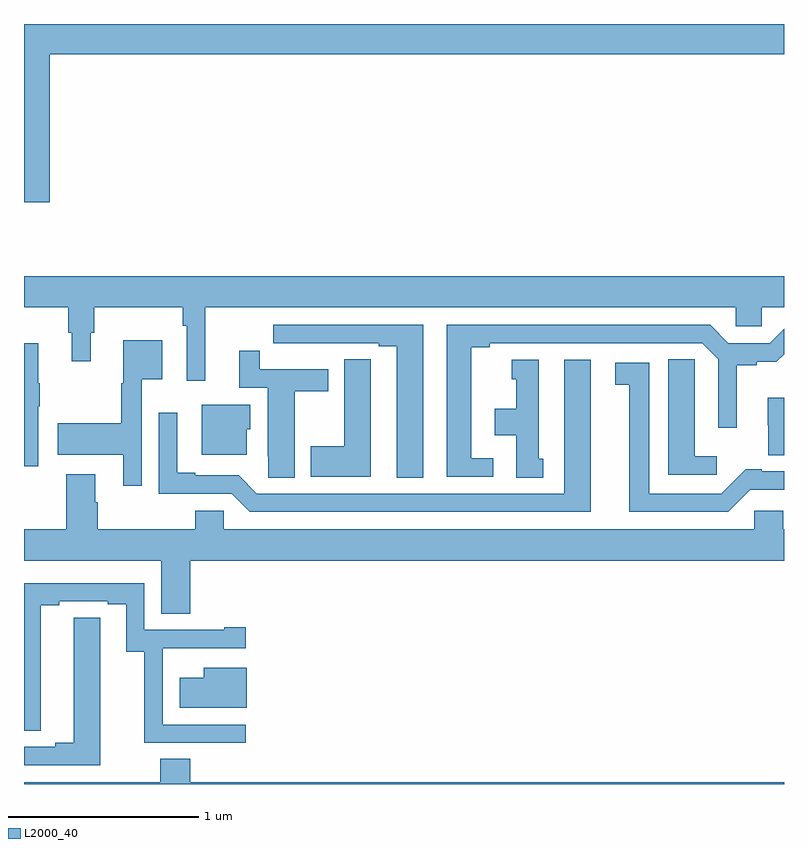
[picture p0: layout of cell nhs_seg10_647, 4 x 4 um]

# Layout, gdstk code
import gdstk
lib = gdstk.Library(unit=1e-6, precision=1e-09)
def P(c, l, *ps):  # polygons
    for p in ps: c.add(gdstk.Polygon(p, *l))
L2000_40 = (2000, 40)

nhs_seg10_647 = lib.new_cell('nhs_seg10_647')
P(nhs_seg10_647, L2000_40, [(143.135,1276.34),(147,1276.34),(147,1276.5),(143,1276.5),(143,1275.561),(143.135,1275.561)],
  [(143.954,1275.008),(146.745,1275.008),(146.745,1274.91),(146.883,1274.91),(146.883,1275.008),(147,1275.008),(147,1275.172),(143,1275.172),(143,1275.008),(143.233,1275.008),(143.233,1274.874),(143.252,1274.874),(143.252,1274.724),(143.35,1274.724),(143.35,1274.874),(143.369,1274.874),(143.369,1275.008),(143.836,1275.008),(143.836,1274.912),(143.856,1274.912),(143.856,1274.622),(143.954,1274.622)],
  [(145.471,1274.214),(145.354,1274.214),(145.354,1274.8),(145.45,1274.8),(145.45,1274.82),(146.571,1274.82),(146.655,1274.736),(146.655,1274.376),(146.752,1274.376),(146.752,1274.704),(146.856,1274.704),(146.856,1274.723),(146.96,1274.723),(147,1274.763),(147,1274.895),(146.925,1274.82),(146.707,1274.82),(146.611,1274.916),(145.226,1274.916),(145.226,1274.118),(145.471,1274.118)],
  [(145.102,1274.916),(144.312,1274.916),(144.312,1274.82),(144.424,1274.82),(144.424,1274.819),(144.59,1274.819),(144.59,1274.82),(144.866,1274.82),(144.866,1274.805),(144.962,1274.805),(144.962,1274.113),(145.102,1274.113)],
  [(143.619,1274.63),(143.728,1274.63),(143.728,1274.836),(143.522,1274.836),(143.522,1274.61),(143.511,1274.61),(143.511,1274.4),(143.178,1274.4),(143.178,1274.234),(143.522,1274.234),(143.522,1274.07),(143.619,1274.07)],
  [(143.074,1274.488),(143.082,1274.488),(143.082,1274.608),(143.074,1274.608),(143.074,1274.821),(143,1274.821),(143,1274.172),(143.074,1274.172)],
  [(144.424,1274.566),(144.601,1274.566),(144.601,1274.682),(144.242,1274.682),(144.242,1274.779),(144.134,1274.779),(144.134,1274.586),(144.284,1274.586),(144.284,1274.224),(144.285,1274.224),(144.285,1274.113),(144.424,1274.113)],
  [(146.647,1274.224),(146.53,1274.224),(146.53,1274.627),(146.529,1274.627),(146.529,1274.735),(146.39,1274.735),(146.39,1274.127),(146.647,1274.127)],
  [(144.826,1274.627),(144.825,1274.627),(144.825,1274.735),(144.686,1274.735),(144.686,1274.277),(144.509,1274.277),(144.509,1274.117),(144.826,1274.117)],
  [(145.984,1274.734),(145.844,1274.734),(145.844,1274.028),(144.225,1274.028),(144.129,1274.124),(143.902,1274.124),(143.902,1274.137),(143.806,1274.137),(143.806,1274.455),(143.709,1274.455),(143.709,1274.028),(144.093,1274.028),(144.189,1273.932),(145.984,1273.932)],
  [(145.732,1274.211),(145.708,1274.211),(145.708,1274.734),(145.568,1274.734),(145.568,1274.631),(145.592,1274.631),(145.592,1274.476),(145.478,1274.476),(145.478,1274.336),(145.592,1274.336),(145.592,1274.113),(145.732,1274.113)],
  [(146.823,1274.049),(147,1274.049),(147,1274.145),(146.884,1274.145),(146.884,1274.156),(146.798,1274.156),(146.67,1274.028),(146.29,1274.028),(146.29,1274.718),(146.112,1274.718),(146.112,1274.602),(146.186,1274.602),(146.186,1273.932),(146.706,1273.932)],
  [(147,1274.533),(146.915,1274.533),(146.915,1274.388),(146.917,1274.388),(146.917,1274.23),(147,1274.23)],
  [(144.172,1274.367),(144.19,1274.367),(144.19,1274.497),(143.936,1274.497),(143.936,1274.234),(144.172,1274.234)],
  [(143.876,1273.676),(147,1273.676),(147,1273.84),(146.996,1273.84),(146.996,1273.938),(146.844,1273.938),(146.844,1273.84),(144.051,1273.84),(144.051,1273.938),(143.9,1273.938),(143.9,1273.84),(143.387,1273.84),(143.387,1273.982),(143.374,1273.982),(143.374,1274.131),(143.222,1274.131),(143.222,1273.84),(143,1273.84),(143,1273.676),(143.723,1273.676),(143.723,1273.396),(143.876,1273.396)],
  [(144.166,1272.813),(143.73,1272.813),(143.73,1273.214),(143.732,1273.214),(143.732,1273.215),(144.166,1273.215),(144.166,1273.324),(144.053,1273.324),(144.053,1273.311),(143.634,1273.311),(143.634,1273.557),(143,1273.557),(143,1272.781),(143.089,1272.781),(143.089,1273.441),(143.185,1273.441),(143.185,1273.461),(143.441,1273.461),(143.441,1273.446),(143.537,1273.446),(143.537,1273.195),(143.632,1273.195),(143.632,1272.717),(144.166,1272.717)],
  [(143.401,1273.268),(143.4,1273.268),(143.4,1273.376),(143.261,1273.376),(143.261,1272.716),(143.165,1272.716),(143.165,1272.696),(143,1272.696),(143,1272.6),(143.401,1272.6)],
  [(144.172,1273.111),(143.945,1273.111),(143.945,1273.06),(143.82,1273.06),(143.82,1272.902),(144.172,1272.902)],
  [(147,1272.508),(143.876,1272.508),(143.876,1272.632),(143.716,1272.632),(143.716,1272.508),(143,1272.508),(143,1272.5),(147,1272.5)])

lib.write_gds('nhs_seg10_647.gds')
